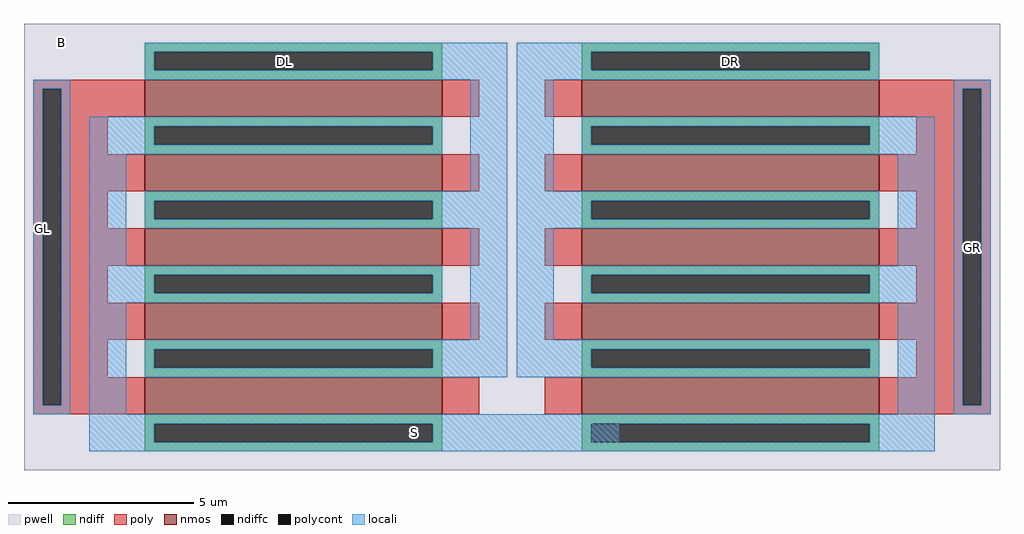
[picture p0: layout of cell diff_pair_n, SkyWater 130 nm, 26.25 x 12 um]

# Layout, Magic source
magic
tech sky130A
<< locali >>
rect 200 -450 700 -350
use n40x1  n40x1_0
transform 1 0 425 0 1 450
box -1325 -950 0 250
use n40x1  n40x1_1
transform -1 0 400 0 1 450
box -1325 -950 0 250
<< labels >>
flabel space -200 600 -200 600 0 FreeSans 800 0 0 0 DL
port 0 nsew
flabel space -850 150 -850 150 0 FreeSans 800 0 0 0 GL
port 1 nsew
flabel space 150 -400 150 -400 0 FreeSans 800 0 0 0 S
port 2 nsew
flabel space -800 650 -800 650 0 FreeSans 800 0 0 0 B
port 3 nsew
flabel space 1000 600 1000 600 0 FreeSans 800 0 0 0 DR
port 4 nsew
flabel space 1650 100 1650 100 0 FreeSans 800 0 0 0 GR
port 5 nsew
<< end >>

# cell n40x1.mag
magic
tech sky130A
<< pwell >>
rect -1325 -950 0 250
<< nmos >>
rect -1000 0 -200 100
rect -1000 -200 -200 -100
rect -1000 -400 -200 -300
rect -1000 -600 -200 -500
rect -1000 -800 -200 -700
<< ndiff >>
rect -1000 175 -200 200
rect -1000 125 -975 175
rect -225 125 -200 175
rect -1000 100 -200 125
rect -1000 -25 -200 0
rect -1000 -75 -975 -25
rect -225 -75 -200 -25
rect -1000 -100 -200 -75
rect -1000 -225 -200 -200
rect -1000 -275 -975 -225
rect -225 -275 -200 -225
rect -1000 -300 -200 -275
rect -1000 -425 -200 -400
rect -1000 -475 -975 -425
rect -225 -475 -200 -425
rect -1000 -500 -200 -475
rect -1000 -625 -200 -600
rect -1000 -675 -975 -625
rect -225 -675 -200 -625
rect -1000 -700 -200 -675
rect -1000 -825 -200 -800
rect -1000 -875 -975 -825
rect -225 -875 -200 -825
rect -1000 -900 -200 -875
<< ndiffc >>
rect -975 125 -225 175
rect -975 -75 -225 -25
rect -975 -275 -225 -225
rect -975 -475 -225 -425
rect -975 -675 -225 -625
rect -975 -875 -225 -825
<< poly >>
rect -1300 75 -1000 100
rect -1300 -775 -1275 75
rect -1225 0 -1000 75
rect -200 0 -100 100
rect -1225 -100 -1100 0
rect -1225 -200 -1000 -100
rect -200 -200 -100 -100
rect -1225 -300 -1100 -200
rect -1225 -400 -1000 -300
rect -200 -400 -100 -300
rect -1225 -500 -1100 -400
rect -1225 -600 -1000 -500
rect -200 -600 -100 -500
rect -1225 -700 -1100 -600
rect -1225 -775 -1000 -700
rect -1300 -800 -1000 -775
rect -200 -800 -100 -700
<< polycont >>
rect -1275 -775 -1225 75
<< locali >>
rect -1000 175 -25 200
rect -1000 125 -975 175
rect -225 125 -25 175
rect -1000 100 -25 125
rect -1300 75 -1200 100
rect -1300 -775 -1275 75
rect -1225 -775 -1200 75
rect -1300 -800 -1200 -775
rect -1150 -25 -200 0
rect -1150 -75 -975 -25
rect -225 -75 -200 -25
rect -1150 -100 -200 -75
rect -1150 -400 -1050 -100
rect -125 -200 -25 100
rect -1000 -225 -25 -200
rect -1000 -275 -975 -225
rect -225 -275 -25 -225
rect -1000 -300 -25 -275
rect -1150 -425 -200 -400
rect -1150 -475 -975 -425
rect -225 -475 -200 -425
rect -1150 -500 -200 -475
rect -1150 -800 -1050 -500
rect -125 -600 -25 -300
rect -1000 -625 -25 -600
rect -1000 -675 -975 -625
rect -225 -675 -25 -625
rect -1000 -700 -25 -675
rect -1150 -825 -200 -800
rect -1150 -875 -975 -825
rect -225 -875 -200 -825
rect -1150 -900 -200 -875
<< labels >>
flabel ndiffc -750 150 -750 150 0 FreeSans 800 0 0 0 D
port 0 nsew
flabel polycont -1250 -300 -1250 -300 0 FreeSans 800 0 0 0 G
port 1 nsew
flabel ndiffc -750 -850 -750 -850 0 FreeSans 800 0 0 0 S
port 2 nsew
flabel pwell -1200 175 -1200 175 0 FreeSans 800 0 0 0 B
port 3 nsew
<< end >>
